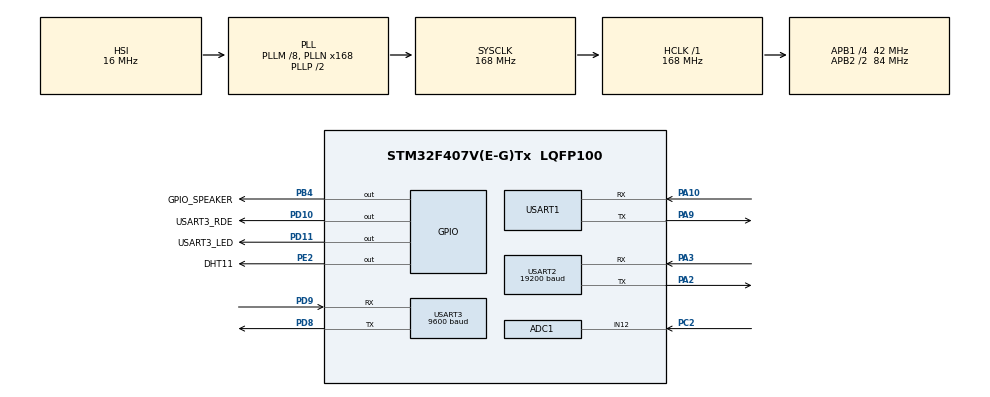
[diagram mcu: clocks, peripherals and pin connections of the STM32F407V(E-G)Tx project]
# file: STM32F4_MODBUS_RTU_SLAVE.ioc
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ADC1.Channel-0\#ChannelRegularConversion=ADC_CHANNEL_12
ADC1.ContinuousConvMode=ENABLE
ADC1.NbrOfConversion=1
ADC1.NbrOfConversionFlag=1
ADC1.Rank-0\#ChannelRegularConversion=1
ADC1.SamplingTime-0\#ChannelRegularConversion=ADC_SAMPLETIME_480CYCLES
ADC1.ScanConvMode=DISABLE
ADC1.master=1
FREERTOS.Tasks01=defaultTask,0,128,StartDefaultTask,Default,NULL,Dynamic,NULL,NULL;appEnvTask,-3,128,StartappEnvTask,Default,NULL,Dynamic,NULL,NULL
Mcu.Family=STM32F4
Mcu.Name=STM32F407V(E-G)Tx
Mcu.Package=LQFP100
NVIC.PriorityGroup=NVIC_PRIORITYGROUP_4
NVIC.TIM3_IRQn=true\:0\:0\:false\:false\:true\:false\:false\:true
NVIC.TIM7_IRQn=true\:5\:0\:false\:false\:true\:true\:true\:true
NVIC.TimeBase=TIM3_IRQn
NVIC.TimeBaseIP=TIM3
NVIC.USART2_IRQn=true\:5\:0\:false\:false\:true\:true\:true\:true
NVIC.USART3_IRQn=true\:5\:0\:false\:false\:true\:true\:true\:true
PA10.Mode=Asynchronous
PA10.Signal=USART1_RX
PA13.GPIO_Label=SWDIO
PA13.Mode=Serial_Wire
PA13.Signal=SYS_JTMS-SWDIO
PA14.GPIO_Label=SWCLK
PA14.Mode=Serial_Wire
PA14.Signal=SYS_JTCK-SWCLK
PA2.Mode=Asynchronous
PA2.Signal=USART2_TX
PA3.Mode=Asynchronous
PA3.Signal=USART2_RX
PA9.Mode=Asynchronous
PA9.Signal=USART1_TX
PB3.GPIO_Label=SWO
PB3.Signal=SYS_JTDO-SWO
PB4.GPIO_Label=GPIO_SPEAKER
PB4.Signal=GPIO_Output
PC14-OSC32_IN.GPIO_Label=PC14-OSC32_IN
PC14-OSC32_IN.Signal=RCC_OSC32_IN
PC15-OSC32_OUT.GPIO_Label=PC15-OSC32_OUT
PC15-OSC32_OUT.Signal=RCC_OSC32_OUT
PC2.Signal=ADCx_IN12
PD10.GPIO_Label=USART3_RDE
PD10.Signal=GPIO_Output
PD11.GPIO_Label=USART3_LED
PD11.Signal=GPIO_Output
PD8.Mode=Asynchronous
PD8.Signal=USART3_TX
PD9.Mode=Asynchronous
PD9.Signal=USART3_RX
PE2.GPIO_Label=DHT11
PE2.Signal=GPIO_Output
PH0-OSC_IN.GPIO_Label=PH0-OSC_IN
PH0-OSC_IN.Signal=RCC_OSC_IN
PH1-OSC_OUT.GPIO_Label=PH1-OSC_OUT
PH1-OSC_OUT.Signal=RCC_OSC_OUT
ProjectManager.HeapSize=0x200
ProjectManager.StackSize=0x400
ProjectManager.TargetToolchain=SW4STM32
RCC.48MHZClocksFreq_Value=48000000
RCC.AHBFreq_Value=168000000
RCC.APB1CLKDivider=RCC_HCLK_DIV4
RCC.APB1Freq_Value=42000000
RCC.APB1TimFreq_Value=84000000
RCC.APB2CLKDivider=RCC_HCLK_DIV2
RCC.APB2Freq_Value=84000000
RCC.APB2TimFreq_Value=168000000
RCC.CortexFreq_Value=168000000
RCC.HCLKFreq_Value=168000000
RCC.HSE_VALUE=12000000
RCC.HSI_VALUE=16000000
RCC.LSE_VALUE=32768
RCC.PLLM=8
RCC.PLLN=168
RCC.PLLQ=7
RCC.SYSCLKFreq_VALUE=168000000
RCC.SYSCLKSource=RCC_SYSCLKSOURCE_PLLCLK
RCC.VCOOutputFreq_Value=336000000
SH.ADCx_IN12.0=ADC1_IN12,IN12
TIM1.Period=0xffff-1
TIM1.Prescaler=168-1
TIM6.Period=0xffff-1
TIM6.Prescaler=84-1
TIM7.TIM_MasterOutputTrigger=TIM_TRGO_UPDATE
USART1.VirtualMode=VM_ASYNC
USART2.BaudRate=19200
USART2.VirtualMode=VM_ASYNC
USART3.BaudRate=9600
USART3.VirtualMode=VM_ASYNC
VP_FREERTOS_VS_CMSIS_V1.Mode=CMSIS_V1
VP_SYS_VS_tim3.Mode=TIM3
VP_TIM1_VS_ClockSourceINT.Mode=Internal
VP_TIM6_VS_ClockSourceINT.Mode=Enable_Timer
VP_TIM7_VS_ClockSourceINT.Mode=Enable_Timer
board=STM32F4DISCOVERY

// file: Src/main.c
/* USER CODE BEGIN Header */
/**
 ******************************************************************************
 * @file           : main.c
 * @brief          : Main program body
 ******************************************************************************
 * @attention
 *
 * <h2><center>&copy; Copyright (c) 2020 STMicroelectronics.
 * All rights reserved.</center></h2>
 *
 * This software component is licensed by ST under Ultimate Liberty license
 * SLA0044, the "License"; You may not use this file except in compliance with
 * the License. You may obtain a copy of the License at:
 *                             www.st.com/SLA0044
 *
 ******************************************************************************
 */
/* USER CODE END Header */

#include "main.h"
#include "cmsis_os.h"

/* USER CODE BEGIN Includes */
#include "stdint.h"
#include "stdio.h"
#include "envtask.h"
/* USER CODE END Includes */

ADC_HandleTypeDef hadc1;

TIM_HandleTypeDef htim1;
TIM_HandleTypeDef htim6;
TIM_HandleTypeDef htim7;

UART_HandleTypeDef huart1;
UART_HandleTypeDef huart2;
UART_HandleTypeDef huart3;

osThreadId defaultTaskHandle;
osThreadId appEnvTaskHandle;
/* USER CODE BEGIN PV */
/* Private variables ---------------------------------------------------------*/

/* USER CODE END PV */

void SystemClock_Config(void);
static void MX_GPIO_Init(void);
static void MX_USART2_UART_Init(void);
static void MX_TIM7_Init(void);
static void MX_USART1_UART_Init(void);
static void MX_USART3_UART_Init(void);
static void MX_ADC1_Init(void);
static void MX_TIM1_Init(void);
static void MX_TIM6_Init(void);
void StartDefaultTask(void const * argument);
void StartappEnvTask(void const * argument);

/* USER CODE BEGIN PFP */
/* Private function prototypes -----------------------------------------------*/
extern void ModbusRTUTask(void const * argument);

/* USER CODE END PFP */

int main(void)
{

  /* MCU Configuration--------------------------------------------------------*/

  /* Reset of all peripherals, Initializes the Flash interface and the Systick. */
  HAL_Init();

  /* Configure the system clock */
  SystemClock_Config();

  /* Initialize all configured peripherals */
  MX_GPIO_Init();
  MX_USART2_UART_Init();
  MX_TIM7_Init();
  MX_USART1_UART_Init();
  MX_USART3_UART_Init();
  MX_ADC1_Init();
  MX_TIM1_Init();
  MX_TIM6_Init();
  /* USER CODE BEGIN 2 */
	HAL_TIM_Base_Start(&htim6);
	printf("\r\n  Env Board Starting........    \r\n ");
	HAL_GPIO_WritePin(GPIO_SPEAKER_GPIO_Port, GPIO_SPEAKER_Pin, 1);
	HAL_Delay(100);
	HAL_GPIO_WritePin(GPIO_SPEAKER_GPIO_Port, GPIO_SPEAKER_Pin, 0);
	HAL_Delay(100);
	printf("\r\n  Booting to RTOS........    \r\n ");

//	uint32_t count=0;
//	uint32_t count1=0;
//	while(1)
//	{
//		for (count1 = 0 ; count1 < 1000; count1++)
//				{
////					delay_us(1);
//
//		for (count = 0 ; count < 1000; count++)
//		{
//			delay_us(1);
//		}
//				}
//		printf("\r\n NTT \r\n ");
//	}

  /* USER CODE END 2 */

  /* Create the thread(s) */
  /* definition and creation of defaultTask */
  osThreadDef(defaultTask, StartDefaultTask, osPriorityNormal, 0, 128);
  defaultTaskHandle = osThreadCreate(osThread(defaultTask), NULL);

  /* definition and creation of appEnvTask */
  osThreadDef(appEnvTask, StartappEnvTask, osPriorityIdle, 0, 128);
  appEnvTaskHandle = osThreadCreate(osThread(appEnvTask), NULL);

  /* Start scheduler */
  osKernelStart();

  /* We should never get here as control is now taken by the scheduler */
  /* Infinite loop */
	while (1) {

	}
}

void SystemClock_Config(void)
{
  RCC_OscInitTypeDef RCC_OscInitStruct = {0};
  RCC_ClkInitTypeDef RCC_ClkInitStruct = {0};

  /** Configure the main internal regulator output voltage
  */
  __HAL_RCC_PWR_CLK_ENABLE();
  __HAL_PWR_VOLTAGESCALING_CONFIG(PWR_REGULATOR_VOLTAGE_SCALE1);
  /** Initializes the CPU, AHB and APB busses clocks
  */
  RCC_OscInitStruct.OscillatorType = RCC_OSCILLATORTYPE_HSI;
  RCC_OscInitStruct.HSIState = RCC_HSI_ON;
  RCC_OscInitStruct.HSICalibrationValue = RCC_HSICALIBRATION_DEFAULT;
  RCC_OscInitStruct.PLL.PLLState = RCC_PLL_ON;
  RCC_OscInitStruct.PLL.PLLSource = RCC_PLLSOURCE_HSI;
  RCC_OscInitStruct.PLL.PLLM = 8;
  RCC_OscInitStruct.PLL.PLLN = 168;
  RCC_OscInitStruct.PLL.PLLP = RCC_PLLP_DIV2;
  RCC_OscInitStruct.PLL.PLLQ = 7;
  if (HAL_RCC_OscConfig(&RCC_OscInitStruct) != HAL_OK)
  {
    Error_Handler();
  }
  /** Initializes the CPU, AHB and APB busses clocks
  */
  RCC_ClkInitStruct.ClockType = RCC_CLOCKTYPE_HCLK|RCC_CLOCKTYPE_SYSCLK
                              |RCC_CLOCKTYPE_PCLK1|RCC_CLOCKTYPE_PCLK2;
  RCC_ClkInitStruct.SYSCLKSource = RCC_SYSCLKSOURCE_PLLCLK;
  RCC_ClkInitStruct.AHBCLKDivider = RCC_SYSCLK_DIV1;
  RCC_ClkInitStruct.APB1CLKDivider = RCC_HCLK_DIV4;
  RCC_ClkInitStruct.APB2CLKDivider = RCC_HCLK_DIV2;

  if (HAL_RCC_ClockConfig(&RCC_ClkInitStruct, FLASH_LATENCY_5) != HAL_OK)
  {
    Error_Handler();
  }
}

static void MX_ADC1_Init(void)
{

  ADC_ChannelConfTypeDef sConfig = {0};

  /** Configure the global features of the ADC (Clock, Resolution, Data Alignment and number of conversion)
  */
  hadc1.Instance = ADC1;
  hadc1.Init.ClockPrescaler = ADC_CLOCK_SYNC_PCLK_DIV4;
  hadc1.Init.Resolution = ADC_RESOLUTION_12B;
  hadc1.Init.ScanConvMode = DISABLE;
  hadc1.Init.ContinuousConvMode = ENABLE;
  hadc1.Init.DiscontinuousConvMode = DISABLE;
  hadc1.Init.ExternalTrigConvEdge = ADC_EXTERNALTRIGCONVEDGE_NONE;
  hadc1.Init.ExternalTrigConv = ADC_SOFTWARE_START;
  hadc1.Init.DataAlign = ADC_DATAALIGN_RIGHT;
  hadc1.Init.NbrOfConversion = 1;
  hadc1.Init.DMAContinuousRequests = DISABLE;
  hadc1.Init.EOCSelection = ADC_EOC_SINGLE_CONV;
  if (HAL_ADC_Init(&hadc1) != HAL_OK)
  {
    Error_Handler();
  }
  /** Configure for the selected ADC regular channel its corresponding rank in the sequencer and its sample time.
  */
  sConfig.Channel = ADC_CHANNEL_12;
  sConfig.Rank = 1;
  sConfig.SamplingTime = ADC_SAMPLETIME_480CYCLES;
  if (HAL_ADC_ConfigChannel(&hadc1, &sConfig) != HAL_OK)
  {
    Error_Handler();
  }

}

static void MX_TIM1_Init(void)
{

  TIM_ClockConfigTypeDef sClockSourceConfig = {0};
  TIM_MasterConfigTypeDef sMasterConfig = {0};

  htim1.Instance = TIM1;
  htim1.Init.Prescaler = 168-1;
  htim1.Init.CounterMode = TIM_COUNTERMODE_UP;
  htim1.Init.Period = 0xffff-1;
  htim1.Init.ClockDivision = TIM_CLOCKDIVISION_DIV1;
  htim1.Init.RepetitionCounter = 0;
  htim1.Init.AutoReloadPreload = TIM_AUTORELOAD_PRELOAD_DISABLE;
  if (HAL_TIM_Base_Init(&htim1) != HAL_OK)
  {
    Error_Handler();
  }
  sClockSourceConfig.ClockSource = TIM_CLOCKSOURCE_INTERNAL;
  if (HAL_TIM_ConfigClockSource(&htim1, &sClockSourceConfig) != HAL_OK)
  {
    Error_Handler();
  }
  sMasterConfig.MasterOutputTrigger = TIM_TRGO_RESET;
  sMasterConfig.MasterSlaveMode = TIM_MASTERSLAVEMODE_DISABLE;
  if (HAL_TIMEx_MasterConfigSynchronization(&htim1, &sMasterConfig) != HAL_OK)
  {
    Error_Handler();
  }

}

static void MX_TIM6_Init(void)
{

  TIM_MasterConfigTypeDef sMasterConfig = {0};

  htim6.Instance = TIM6;
  htim6.Init.Prescaler = 84-1;
  htim6.Init.CounterMode = TIM_COUNTERMODE_UP;
  htim6.Init.Period = 0xffff-1;
  htim6.Init.AutoReloadPreload = TIM_AUTORELOAD_PRELOAD_DISABLE;
  if (HAL_TIM_Base_Init(&htim6) != HAL_OK)
  {
    Error_Handler();
  }
  sMasterConfig.MasterOutputTrigger = TIM_TRGO_RESET;
  sMasterConfig.MasterSlaveMode = TIM_MASTERSLAVEMODE_DISABLE;
  if (HAL_TIMEx_MasterConfigSynchronization(&htim6, &sMasterConfig) != HAL_OK)
  {
    Error_Handler();
  }

}

static void MX_TIM7_Init(void)
{

  TIM_MasterConfigTypeDef sMasterConfig = {0};

  htim7.Instance = TIM7;
  htim7.Init.Prescaler = 0;
  htim7.Init.CounterMode = TIM_COUNTERMODE_UP;
  htim7.Init.Period = 0;
  htim7.Init.AutoReloadPreload = TIM_AUTORELOAD_PRELOAD_DISABLE;
  if (HAL_TIM_Base_Init(&htim7) != HAL_OK)
  {
    Error_Handler();
  }
  sMasterConfig.MasterOutputTrigger = TIM_TRGO_UPDATE;
  sMasterConfig.MasterSlaveMode = TIM_MASTERSLAVEMODE_DISABLE;
  if (HAL_TIMEx_MasterConfigSynchronization(&htim7, &sMasterConfig) != HAL_OK)
  {
    Error_Handler();
  }

}

static void MX_USART1_UART_Init(void)
{

  huart1.Instance = USART1;
  huart1.Init.BaudRate = 115200;
  huart1.Init.WordLength = UART_WORDLENGTH_8B;
  huart1.Init.StopBits = UART_STOPBITS_1;
  huart1.Init.Parity = UART_PARITY_NONE;
  huart1.Init.Mode = UART_MODE_TX_RX;
  huart1.Init.HwFlowCtl = UART_HWCONTROL_NONE;
  huart1.Init.OverSampling = UART_OVERSAMPLING_16;
  if (HAL_UART_Init(&huart1) != HAL_OK)
  {
    Error_Handler();
  }

}

static void MX_USART2_UART_Init(void)
{

  huart2.Instance = USART2;
  huart2.Init.BaudRate = 19200;
  huart2.Init.WordLength = UART_WORDLENGTH_8B;
  huart2.Init.StopBits = UART_STOPBITS_1;
  huart2.Init.Parity = UART_PARITY_NONE;
  huart2.Init.Mode = UART_MODE_TX_RX;
  huart2.Init.HwFlowCtl = UART_HWCONTROL_NONE;
  huart2.Init.OverSampling = UART_OVERSAMPLING_16;
  if (HAL_UART_Init(&huart2) != HAL_OK)
  {
    Error_Handler();
  }

}

static void MX_USART3_UART_Init(void)
{

  huart3.Instance = USART3;
  huart3.Init.BaudRate = 9600;
  huart3.Init.WordLength = UART_WORDLENGTH_8B;
  huart3.Init.StopBits = UART_STOPBITS_1;
  huart3.Init.Parity = UART_PARITY_NONE;
  huart3.Init.Mode = UART_MODE_TX_RX;
  huart3.Init.HwFlowCtl = UART_HWCONTROL_NONE;
  huart3.Init.OverSampling = UART_OVERSAMPLING_16;
  if (HAL_UART_Init(&huart3) != HAL_OK)
  {
    Error_Handler();
  }

}

static void MX_GPIO_Init(void)
{
  GPIO_InitTypeDef GPIO_InitStruct = {0};

  /* GPIO Ports Clock Enable */
  __HAL_RCC_GPIOE_CLK_ENABLE();
  __HAL_RCC_GPIOC_CLK_ENABLE();
  __HAL_RCC_GPIOH_CLK_ENABLE();
  __HAL_RCC_GPIOA_CLK_ENABLE();
  __HAL_RCC_GPIOD_CLK_ENABLE();
  __HAL_RCC_GPIOB_CLK_ENABLE();

  /*Configure GPIO pin Output Level */
  HAL_GPIO_WritePin(DHT11_GPIO_Port, DHT11_Pin, GPIO_PIN_RESET);

  /*Configure GPIO pin Output Level */
  HAL_GPIO_WritePin(GPIOD, USART3_RDE_Pin|USART3_LED_Pin, GPIO_PIN_RESET);

  /*Configure GPIO pin Output Level */
  HAL_GPIO_WritePin(GPIO_SPEAKER_GPIO_Port, GPIO_SPEAKER_Pin, GPIO_PIN_RESET);

  /*Configure GPIO pin : DHT11_Pin */
  GPIO_InitStruct.Pin = DHT11_Pin;
  GPIO_InitStruct.Mode = GPIO_MODE_OUTPUT_PP;
  GPIO_InitStruct.Pull = GPIO_NOPULL;
  GPIO_InitStruct.Speed = GPIO_SPEED_FREQ_LOW;
  HAL_GPIO_Init(DHT11_GPIO_Port, &GPIO_InitStruct);

  /*Configure GPIO pins : USART3_RDE_Pin USART3_LED_Pin */
  GPIO_InitStruct.Pin = USART3_RDE_Pin|USART3_LED_Pin;
  GPIO_InitStruct.Mode = GPIO_MODE_OUTPUT_PP;
  GPIO_InitStruct.Pull = GPIO_NOPULL;
  GPIO_InitStruct.Speed = GPIO_SPEED_FREQ_LOW;
  HAL_GPIO_Init(GPIOD, &GPIO_InitStruct);

  /*Configure GPIO pin : GPIO_SPEAKER_Pin */
  GPIO_InitStruct.Pin = GPIO_SPEAKER_Pin;
  GPIO_InitStruct.Mode = GPIO_MODE_OUTPUT_PP;
  GPIO_InitStruct.Pull = GPIO_NOPULL;
  GPIO_InitStruct.Speed = GPIO_SPEED_FREQ_LOW;
  HAL_GPIO_Init(GPIO_SPEAKER_GPIO_Port, &GPIO_InitStruct);

}

/* USER CODE BEGIN 4 */

void delay_us(uint32_t time) {
//	 while (time--)
//	    {
//	__ASM volatile ("NOP");
//		__ASM volatile ("NOP");
//		__ASM volatile ("NOP");
//
//	__ASM volatile ("NOP");
//	__ASM volatile ("NOP");
//	__ASM volatile ("NOP");
//	__ASM volatile ("NOP");
//	__ASM volatile ("NOP");
//	__ASM volatile ("NOP");
//	__ASM volatile ("NOP");
//	__ASM volatile ("NOP");
//	__ASM volatile ("NOP");
//	__ASM volatile ("NOP");
//
//	__ASM volatile ("NOP");
//	__ASM volatile ("NOP");
//	__ASM volatile ("NOP");
//	__ASM volatile ("NOP");
//	__ASM volatile ("NOP");
//	__ASM volatile ("NOP");
//	__ASM volatile ("NOP");
//	__ASM volatile ("NOP");
//	__ASM volatile ("NOP");
//	__ASM volatile ("NOP");
//
//	__ASM volatile ("NOP");
//	__ASM volatile ("NOP");
//	__ASM volatile ("NOP");
//	__ASM volatile ("NOP");
//	__ASM volatile ("NOP");
//	__ASM volatile ("NOP");
//	__ASM volatile ("NOP");
//	__ASM volatile ("NOP");
//	__ASM volatile ("NOP");
//	__ASM volatile ("NOP");
//
//	__ASM volatile ("NOP");
//	__ASM volatile ("NOP");
//	__ASM volatile ("NOP");
//	__ASM volatile ("NOP");
//	__ASM volatile ("NOP");
//	__ASM volatile ("NOP");
//	__ASM volatile ("NOP");
//	__ASM volatile ("NOP");
//	__ASM volatile ("NOP");
//	__ASM volatile ("NOP");
//
//	__ASM volatile ("NOP");
//	__ASM volatile ("NOP");
//	__ASM volatile ("NOP");
//	__ASM volatile ("NOP");
//	__ASM volatile ("NOP");
//	__ASM volatile ("NOP");
//	__ASM volatile ("NOP");
//	__ASM volatile ("NOP");
//	__ASM volatile ("NOP");
//	__ASM volatile ("NOP");
//
//	__ASM volatile ("NOP");
//	__ASM volatile ("NOP");
//	__ASM volatile ("NOP");
//	__ASM volatile ("NOP");
//	__ASM volatile ("NOP");
//	__ASM volatile ("NOP");
//	__ASM volatile ("NOP");
//	__ASM volatile ("NOP");
//	__ASM volatile ("NOP");
//	__ASM volatile ("NOP");
//	    }
	__HAL_TIM_SET_COUNTER(&htim6, 0);
	while (__HAL_TIM_GET_COUNTER(&htim6) < time)
		;
}
/**
 * @brief  Retargets the C library printf function to the USART.
 * @param  None
 * @retval None
 */
PUTCHAR_PROTOTYPE {
	/* Place your implementation of fputc here */
	/* e.g. write a character to the USART */
//  USART_SendData(EVAL_COM1, (uint8_t) ch);
	HAL_UART_Transmit(&huart1, (uint8_t *) &ch, 1, 0xFFFF);

	/* Loop until the end of transmission */
//  while (USART_GetFlagStatus(EVAL_COM1, USART_FLAG_TC) == RESET)
//  {}
	return ch;
}

/* USER CODE END 4 */

void StartDefaultTask(void const * argument)
{
  /* USER CODE BEGIN 5 */

	osThreadDef(ModbusRTUTask, ModbusRTUTask, osPriorityNormal, 0,
			configMINIMAL_STACK_SIZE);
	osThreadCreate(osThread(ModbusRTUTask), NULL);
	osThreadDef(EnvTask, EnvTask, osPriorityNormal, 0,
			configMINIMAL_STACK_SIZE);
	osThreadCreate(osThread(EnvTask), NULL);
	osThreadDef(ControlTask, ControlTask, osPriorityNormal, 0,
			configMINIMAL_STACK_SIZE);
	osThreadCreate(osThread(ControlTask), NULL);
	/* Infinite loop */
	for (;;) {
		osDelay(1);
	}
  /* USER CODE END 5 */
}

void StartappEnvTask(void const * argument)
{
	for (;;) {
		osDelay(1);
	}
}

 /**
  * @brief  Period elapsed callback in non blocking mode
  * @note   This function is called  when TIM3 interrupt took place, inside
  * HAL_TIM_IRQHandler(). It makes a direct call to HAL_IncTick() to increment
  * a global variable "uwTick" used as application time base.
  * @param  htim : TIM handle
  * @retval None
  */
void HAL_TIM_PeriodElapsedCallback(TIM_HandleTypeDef *htim)
{
  if (htim->Instance == TIM3) {
    HAL_IncTick();
  }
}

void Error_Handler(void)
{
}

/************************ (C) COPYRIGHT STMicroelectronics *****END OF FILE****/

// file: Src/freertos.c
/* USER CODE BEGIN Header */
/**
  ******************************************************************************
  * File Name          : freertos.c
  * Description        : Code for freertos applications
  ******************************************************************************
  * @attention
  *
  * <h2><center>&copy; Copyright (c) 2020 STMicroelectronics.
  * All rights reserved.</center></h2>
  *
  * This software component is licensed by ST under Ultimate Liberty license
  * SLA0044, the "License"; You may not use this file except in compliance with
  * the License. You may obtain a copy of the License at:
  *                             www.st.com/SLA0044
  *
  ******************************************************************************
  */
/* USER CODE END Header */

#include "FreeRTOS.h"
#include "task.h"
#include "main.h"

/* GetIdleTaskMemory prototype (linked to static allocation support) */
void vApplicationGetIdleTaskMemory( StaticTask_t **ppxIdleTaskTCBBuffer, StackType_t **ppxIdleTaskStackBuffer, uint32_t *pulIdleTaskStackSize );

/* USER CODE BEGIN GET_IDLE_TASK_MEMORY */
static StaticTask_t xIdleTaskTCBBuffer;
static StackType_t xIdleStack[configMINIMAL_STACK_SIZE];

void vApplicationGetIdleTaskMemory( StaticTask_t **ppxIdleTaskTCBBuffer, StackType_t **ppxIdleTaskStackBuffer, uint32_t *pulIdleTaskStackSize )
{
  *ppxIdleTaskTCBBuffer = &xIdleTaskTCBBuffer;
  *ppxIdleTaskStackBuffer = &xIdleStack[0];
  *pulIdleTaskStackSize = configMINIMAL_STACK_SIZE;
  /* place for user code */
}
/* USER CODE END GET_IDLE_TASK_MEMORY */

/************************ (C) COPYRIGHT STMicroelectronics *****END OF FILE****/
